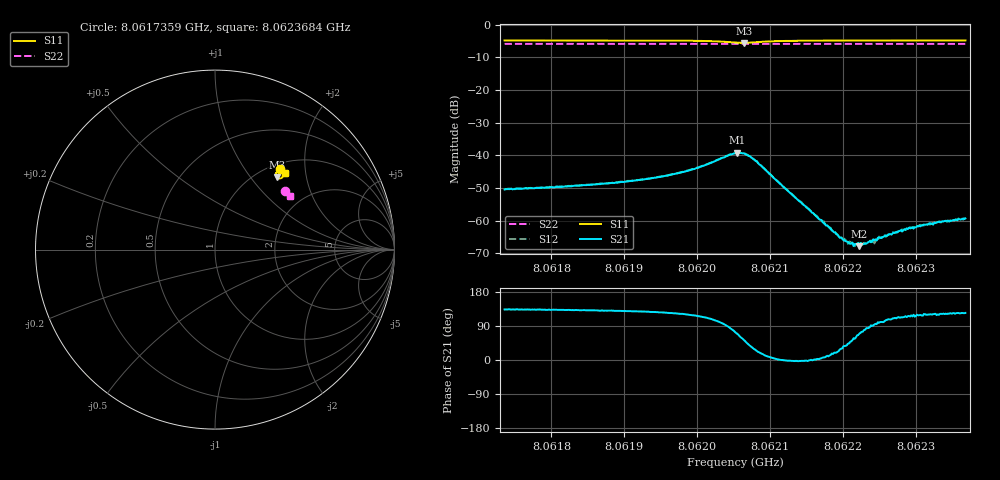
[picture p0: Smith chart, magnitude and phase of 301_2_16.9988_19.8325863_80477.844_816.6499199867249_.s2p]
#  HZ  S  RI  R  50.00
! Rohde & Schwarz Vector Network Analyzer
! Rohde-Schwarz,ZNB20-2Port,1311601062101988,3.16
! Created: UTC 3/20/2024, 11:05:36 PM
! freq[Hz]  re:S11  im:S11  re:S21  im:S21  re:S12  im:S12  re:S22  im:S22
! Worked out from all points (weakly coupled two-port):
!   401 points, 8.0617359 GHz to 8.0623684 GHz, reference 50 ohm
!   highest |S21| = -39.18 dB at 8.0620553 GHz (marker M1); lowest = -67.8 dB at 8.0622229 GHz (marker M2)
!   lowest |S11| = -5.5 dB at 8.0620648 GHz (marker M3), VSWR 3.25, Z = 60.7 + j67.9 ohm
!   |S11| at or under -10 dB: nowhere
!   |S22| runs from -5.9 to -5.8 dB; largest |S21 - S12| = 0.00077
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8.06173586e9  0.3604 0.4491  -0.00206 0.00219  -0.00197 0.00235  0.3924 0.3271
8.0618418e9  0.3678 0.4428  -0.00229 0.00261  -0.00217 0.00275  0.3963 0.3219
8.06188924e9  0.3713 0.4393  -0.00245 0.00293  -0.00228 0.00315  0.3982 0.3195
8.06194775e9  0.3763 0.4329  -0.00272 0.00379  -0.00255 0.00397  0.4005 0.3165
8.06199835e9  0.3808 0.4226  -0.00287 0.00566  -0.00252 0.00589  0.4022 0.3134
8.06205211e9  0.3605 0.3962  0.00295 0.0103  0.00363 0.0103  0.4029 0.3101
8.06205527e9  0.3562 0.3965  0.00391 0.0103  0.00455 0.00997  0.4027 0.3099
8.06206476e9  0.3438 0.4028  0.00659 0.00846  0.00715 0.00796  0.4027 0.3101
8.06207267e9  0.3385 0.4128  0.00771 0.00594  0.00798 0.00547  0.4028 0.3103
8.06208057e9  0.3387 0.4227  0.0074 0.0036  0.00764 0.00312  0.4031 0.3102
8.06215806e9  0.3678 0.4384  0.00133 -1.92e-05  0.00137 -0.000105  0.4074 0.307
8.06219759e9  0.374 0.4359  0.000483 0.000275  0.000522 0.000218  0.409 0.3048
8.06220707e9  0.3752 0.4353  0.000345 0.000323  0.000335 0.00029  0.4094 0.3045
8.06221498e9  0.376 0.4348  0.00022 0.000344  0.000273 0.000347  0.4097 0.3039
8.06222289e9  0.3768 0.4341  0.000141 0.000383  0.000182 0.000428  0.41 0.3036
8.06223079e9  0.3776 0.4339  7.85e-05 0.000442  9.22e-05 0.000442  0.4103 0.3031
8.0622387e9  0.3784 0.4333  -1.12e-05 0.000466  7.04e-05 0.000489  0.4106 0.3028
8.06224503e9  0.3789 0.4328  -4.85e-05 0.000515  4.93e-06 0.00051  0.4108 0.3023
8.062264e9  0.3806 0.4317  -0.000182 0.000595  -0.000131 0.000603  0.4115 0.3014
8.0623067e9  0.3841 0.4292  -0.000395 0.00072  -0.000364 0.000784  0.413 0.2993
8.06232883e9  0.3856 0.4278  -0.000447 0.000824  -0.000433 0.000837  0.4139 0.298
8.06236836e9  0.3882 0.4258  -0.000608 0.000896  -0.000547 0.000915  0.4151 0.296
